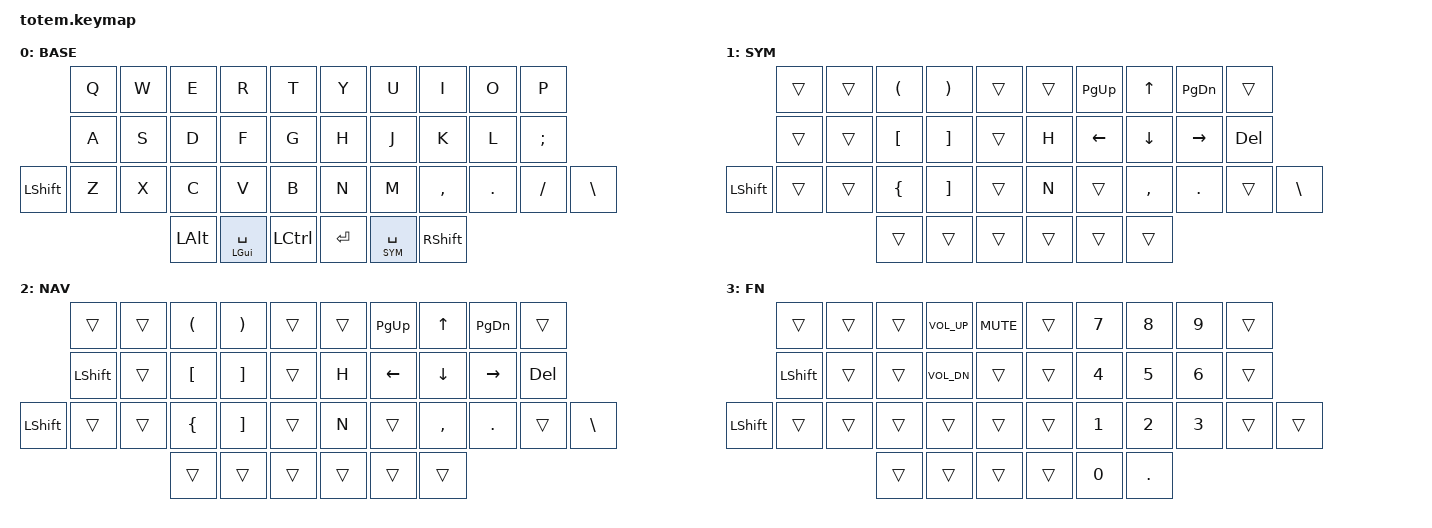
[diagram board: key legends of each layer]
//
//                                                        ▀▀▀▀▀     ▀▀▀▀▀          ▀▀█▀▀
//                                                        ▄▀▀▀▄  ▄  ▄▀▀▀▄  ▄  ▄▀▀▀▄  █  ▄▀▀▀▄
//                                                        █   █  █  █   █  █  █   █  █  █   █
//                                                         ▀▀▀   █   ▀▀▀   █   ▀▀▀   ▀   ▀▀▀
//                                                               █      ▄▄▄█▄▄▄    █   █  
//                                                               ▀      █  █  █     █▄█
//                                                             ▀▀▀▀▀    █  █  █      ▀
//                                                                      ▀  ▀  ▀
//
// ▄▄▄▄▄▄▄▄▄▄▄▄▄▄▄▄▄▄▄▄▄▄▄▄▄▄▄▄▄▄▄▄▄▄▄▄▄▄▄▄▄▄▄▄▄▄▄▄▄▄▄▄▄▄▄▄▄▄▄▄▄▄▄▄▄▄▄▄▄▄▄▄▄▄▄▄▄▄▄▄▄▄▄▄▄▄▄▄▄▄▄▄▄▄▄▄▄▄▄▄▄▄▄▄▄▄▄▄▄▄▄▄▄▄▄▄▄▄▄▄▄▄▄▄▄▄▄▄▄▄▄▄▄▄▄▄▄▄▄▄▄▄▄▄▄▄▄▄▄
       

#include <behaviors.dtsi>
#include <dt-bindings/zmk/keys.h>
#include <dt-bindings/zmk/bt.h>
#include <dt-bindings/zmk/outputs.h>

#define BASE 0
#define NAV  1
#define SYM  2
#define ADJ  3
#define FN 4

&mt {
  quick-tap-ms = <100>;
  global-quick-tap;
  flavor = "tap-preferred";
  tapping-term-ms = <170>;
};

/ {
     combos {
            compatible = "zmk,combos";
            combo_esc {
                timeout-ms = <5>;
                key-positions = <1 2>;
                bindings = <&kp ESC>;
            };
            combo_tab{
                timeout-ms = <5>;
                key-positions = <12 13>;
                bindings = <&kp TAB>;
            };
    };

    macros {
        gif: gif {
            label = "giphy";
            compatible = "zmk,behavior-macro";
            #binding-cells = <0>;
            bindings
                = <&macro_press &kp LSHFT>
                , <&macro_tap &kp N2>
                , <&macro_release &kp LSHFT>
                , <&macro_tap &kp G &kp I &kp F>
                ;
        };
    };

    keymap {
        compatible = "zmk,keymap";
// ▄▄▄▄▄▄▄▄▄▄▄▄▄▄▄▄▄▄▄▄▄▄▄▄▄▄▄▄▄▄▄▄▄▄▄▄▄▄▄▄▄▄▄▄▄▄▄▄▄▄▄▄▄▄▄▄▄▄▄▄▄▄▄▄▄▄▄▄▄▄▄▄▄▄▄▄▄▄▄▄▄▄▄▄▄▄▄▄▄▄▄▄▄▄▄▄▄▄▄▄▄▄▄▄▄▄▄▄▄▄▄▄▄▄▄▄▄▄▄▄▄▄▄▄▄▄▄▄▄▄▄▄▄▄▄▄▄▄▄▄▄▄▄▄▄▄▄▄▄▄▄▄▄
//             ┏━━━━━━━━━━━┳━━━━━━━━━━━┳━━━━━━━━━━━┳━━━━━━━━━━━┳━━━━━━━━━━━┓   ┏━━━━━━━━━━━┳━━━━━━━━━━━┳━━━━━━━━━━━┳━━━━━━━━━━━┳━━━━━━━━━━━┓
//             ┃     0     ┃     1     ┃     2     ┃     3     ┃     4     ┃   ┃     5     ┃     6     ┃     7     ┃     8     ┃     9     ┃
//             ┣━━━━━━━━━━━╋━━━━━━━━━━━╋━━━━━━━━━━━╋━━━━━━━━━━━╋━━━━━━━━━━━┫   ┣━━━━━━━━━━━╋━━━━━━━━━━━╋━━━━━━━━━━━╋━━━━━━━━━━━╋━━━━━━━━━━━┫
//             ┃     10    ┃     11    ┃     12    ┃     13    ┃     14    ┃   ┃     15    ┃     16    ┃     17    ┃     18    ┃     19    ┃
// ┏━━━━━━━━━━━╋━━━━━━━━━━━╋━━━━━━━━━━━╋━━━━━━━━━━━╋━━━━━━━━━━━╋━━━━━━━━━━━┫   ┣━━━━━━━━━━━╋━━━━━━━━━━━╋━━━━━━━━━━━╋━━━━━━━━━━━╋━━━━━━━━━━━╋━━━━━━━━━━━┓
// ┃     20    ┃     21    ┃     22    ┃     23    ┃     24    ┃     25    ┃   ┃     26    ┃     27    ┃     28    ┃     29    ┃     30    ┃     31    ┃
// ┗━━━━━━━━━━━┻━━━━━━━━━━━┻━━━━━━━━━━━╋━━━━━━━━━━━╋━━━━━━━━━━━╋━━━━━━━━━━━┫   ┣━━━━━━━━━━━╋━━━━━━━━━━━╋━━━━━━━━━━━╋━━━━━━━━━━━┻━━━━━━━━━━━┻━━━━━━━━━━━┛
//                                     ┃     32    ┃     33    ┃     34    ┃   ┃     35    ┃     36    ┃     37    ┃
//                                     ┗━━━━━━━━━━━┻━━━━━━━━━━━┻━━━━━━━━━━━┛   ┗━━━━━━━━━━━┻━━━━━━━━━━━┻━━━━━━━━━━━┛

        base_layer {
            label= "BASE";
            bindings = <
// ╷           ╷           ╷           ╷           ╷           ╷           ╷   ╷           ╷           ╷           ╷           ╷           ╷           ╷

                &kp Q       &kp W       &kp E       &kp R       &kp T           &kp Y       &kp U       &kp I       &kp O       &kp P
                &kp A       &kp S       &kp D       &kp F       &kp G           &kp H       &kp J       &kp K       &kp L       &kp SEMI
    &kp LSHFT   &kp Z       &kp X       &kp C       &kp V       &kp B           &kp N       &kp M       &kp COMMA   &kp DOT     &kp FSLH    &kp BSLH
                                        &kp LALT    &mt LGUI SPACE  &kp LCTRL     &kp RET     &lt SYM SPACE &kp RSHFT
            >;
        };

//      ▄▄▄▄▄▄▄▄▄▄▄▄▄▄▄▄▄▄▄▄▄▄▄▄▄▄▄▄▄▄▄▄▄▄▄▄

        symbol_layer {
            label= "SYM";
            bindings = <
// ╷            ╷           ╷           ╷           ╷           ╷           ╷   ╷           ╷           ╷           ╷           ╷           ╷           ╷
                &trans      &trans      &kp LPAR    &kp RPAR    &trans          &trans      &kp PG_UP   &kp UP      &kp PG_DN   &trans
                &trans      &trans      &kp LBKT    &kp RBKT    &trans          &kp H       &kp LEFT    &kp DOWN    &kp RIGHT   &kp DEL
    &kp LSHFT   &trans      &trans      &kp LBRC    &kp RBKT    &trans          &kp N       &trans      &kp COMMA   &kp DOT     &trans      &kp BSLH
                                        &trans      &trans      &trans          &trans      &trans      &trans
            >;
        };

//      ▄▄▄▄▄▄▄▄▄▄▄▄▄▄▄▄▄▄▄▄▄▄▄▄▄▄▄▄▄▄▄▄▄▄▄▄

        navigation_layer {
            label= "NAV";
            bindings = <
// ╷            ╷           ╷           ╷           ╷           ╷           ╷   ╷           ╷           ╷           ╷           ╷           ╷           ╷
                &trans      &trans      &kp LPAR    &kp RPAR    &trans          &trans      &kp PG_UP   &kp UP      &kp PG_DN   &trans
                &kp LSHFT   &trans      &kp LBKT    &kp RBKT    &trans          &kp H       &kp LEFT    &kp DOWN    &kp RIGHT   &kp DEL
    &kp LSHFT   &trans      &trans      &kp LBRC    &kp RBKT    &trans          &kp N       &trans      &kp COMMA   &kp DOT     &trans      &kp BSLH
                                        &trans      &trans      &trans          &trans      &trans      &trans
            >;
        };

        function_layer {
            label= "FN";
            bindings = <
// ╷            ╷           ╷           ╷           ╷           ╷           ╷   ╷           ╷           ╷           ╷           ╷           ╷           ╷
                &trans      &trans      &trans      &kp C_VOL_UP &kp C_MUTE     &trans      &kp N7      &kp N8      &kp N9      &trans
                &kp LSHFT   &trans      &trans      &kp C_VOL_DN &trans         &trans      &kp N4      &kp N5      &kp N6      &trans
    &kp LSHFT   &trans      &trans      &trans      &trans      &trans          &trans      &kp N1      &kp N2      &kp N3      &trans      &trans
                                        &trans      &trans      &trans          &trans      &kp N0      &kp DOT
            >;
        };


    };
};
